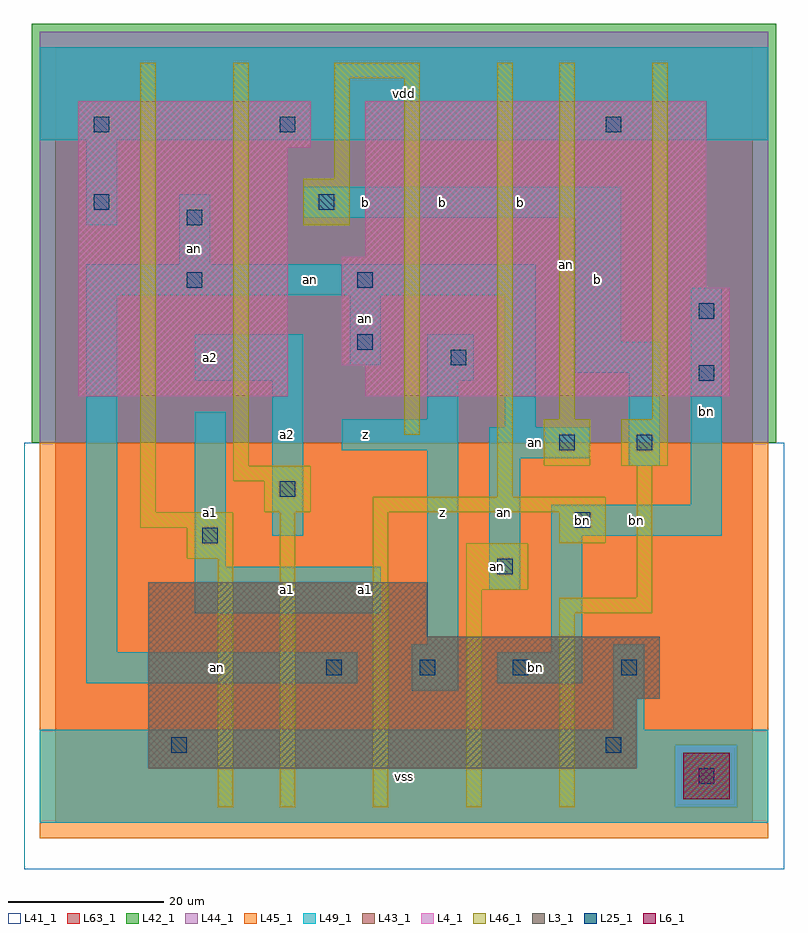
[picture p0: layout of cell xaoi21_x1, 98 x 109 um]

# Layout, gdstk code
import gdstk
lib = gdstk.Library(unit=1e-6, precision=1e-09)
def R(c, l, rs):  # rectangles x0, y0, x1, y1
    for r in rs: c.add(gdstk.rectangle(r[:2], r[2:], *l))
def A(c, l, x, y, w, h, nx, ny, dx, dy):  # array of equal rectangles
    R(c, l, [(x+i*dx, y+j*dy, x+i*dx+w, y+j*dy+h) for i in range(nx) for j in range(ny)])
L3_1 = (3, 1)
L4_1 = (4, 1)
L6_1 = (6, 1)
L25_1 = (25, 1)
L41_1 = (41, 1)
L42_1 = (42, 1)
L43_1 = (43, 1)
L44_1 = (44, 1)
L45_1 = (45, 1)
L46_1 = (46, 1)
L49_1 = (49, 1)
L63_1 = (63, 1)

xaoi21_x1 = lib.new_cell('xaoi21_x1')
R(xaoi21_x1, L3_1, [(12,7,75,16), (12,16,78,24), (12,24,48,31)])
R(xaoi21_x1, L4_1, [(3,55,30,87), (40,55,87,59), (37,59,87,69), (37,69,84,73), (40,73,84,93), (3,87,33,93)])
R(xaoi21_x1, L6_1, [(81,3,87,9)])
A(xaoi21_x1, L25_1, 35, 19, 2, 2, 3, 1, 12, 0)
R(xaoi21_x1, L25_1, [(83,5,85,7), (15,9,17,11), (71,9,73,11), (73,19,75,21), (57,32,59,34), (19,36,21,38), (67,38,69,40), (29,42,31,44), (65,48,67,50), (75,48,77,50), (83,57,85,59), (51,59,53,61), (39,61,41,63), (83,65,85,67), (17,69,19,71), (39,69,41,71), (17,77,19,79), (5,79,7,81), (34,79,36,81), (5,89,7,91), (29,89,31,91), (71,89,73,91)])
R(xaoi21_x1, L41_1, [(-4,-6,94,49), (-3,-3,93,49)])
R(xaoi21_x1, L42_1, [(-3,49,93,103)])
R(xaoi21_x1, L43_1, [(81,3,87,9), (12,7,75,16), (12,16,78,24), (12,24,48,31), (3,55,30,87), (40,55,87,59), (37,59,87,69), (37,69,84,73), (40,73,84,93), (3,87,33,93)])
R(xaoi21_x1, L44_1, [(80,2,88,10), (-2,49,92,102)])
R(xaoi21_x1, L45_1, [(-2,-2,92,2), (-2,2,80,10), (88,2,92,10), (-2,10,92,49)])
R(xaoi21_x1, L46_1, [(21,2,23,34), (29,2,31,40), (41,2,43,40), (53,2,55,30), (65,2,67,27), (65,27,77,29), (75,29,77,46), (53,30,61,36), (17,34,23,38), (65,36,71,40), (11,38,23,40), (11,40,13,98), (27,40,33,44), (41,40,71,42), (57,42,59,98), (23,44,33,46), (23,46,25,98), (63,46,69,52), (73,46,79,52), (45,50,47,96), (65,52,67,98), (77,52,79,98), (32,77,38,83), (36,83,38,96), (36,96,47,98)])
R(xaoi21_x1, L49_1, [(-2,0,92,12), (72,12,76,23), (46,17,52,23), (4,18,39,22), (57,18,68,22), (4,22,8,68), (64,22,68,37), (48,23,52,48), (18,27,42,33), (56,30,60,47), (18,33,22,53), (28,37,32,57), (64,37,86,41), (82,41,86,69), (74,46,78,58), (56,47,69,51), (37,48,52,52), (58,51,62,68), (48,52,52,57), (18,57,32,63), (48,57,54,63), (67,58,78,62), (38,59,42,68), (67,62,73,78), (4,68,62,72), (16,72,20,81), (4,77,8,88), (32,78,73,82), (-2,88,92,100)])
R(xaoi21_x1, L63_1, [(0,0,90,100)])
xaoi21_x1.add(gdstk.Label('an', (57,33), layer=49, texttype=1))
xaoi21_x1.add(gdstk.Label('bn', (68,39), layer=49, texttype=1))
xaoi21_x1.add(gdstk.Label('an', (66,72), layer=46, texttype=1))
xaoi21_x1.add(gdstk.Label('a1', (30,30), layer=49, texttype=1))
xaoi21_x1.add(gdstk.Label('a1', (30,30), layer=49, texttype=1))
xaoi21_x1.add(gdstk.Label('a1', (20,40), layer=49, texttype=1))
xaoi21_x1.add(gdstk.Label('a1', (20,40), layer=49, texttype=1))
xaoi21_x1.add(gdstk.Label('a2', (30,50), layer=49, texttype=1))
xaoi21_x1.add(gdstk.Label('a2', (30,50), layer=49, texttype=1))
xaoi21_x1.add(gdstk.Label('a2', (20,60), layer=49, texttype=1))
xaoi21_x1.add(gdstk.Label('a2', (20,60), layer=49, texttype=1))
xaoi21_x1.add(gdstk.Label('an', (18,74), layer=49, texttype=1))
xaoi21_x1.add(gdstk.Label('vss', (45,6), layer=49, texttype=1))
xaoi21_x1.add(gdstk.Label('vss', (45,6), layer=49, texttype=1))
xaoi21_x1.add(gdstk.Label('an', (21,20), layer=49, texttype=1))
xaoi21_x1.add(gdstk.Label('a1', (40,30), layer=49, texttype=1))
xaoi21_x1.add(gdstk.Label('a1', (40,30), layer=49, texttype=1))
xaoi21_x1.add(gdstk.Label('z', (50,40), layer=49, texttype=1))
xaoi21_x1.add(gdstk.Label('z', (50,40), layer=49, texttype=1))
xaoi21_x1.add(gdstk.Label('z', (40,50), layer=49, texttype=1))
xaoi21_x1.add(gdstk.Label('z', (40,50), layer=49, texttype=1))
xaoi21_x1.add(gdstk.Label('an', (40,65), layer=49, texttype=1))
xaoi21_x1.add(gdstk.Label('b', (40,80), layer=49, texttype=1))
xaoi21_x1.add(gdstk.Label('b', (50,80), layer=49, texttype=1))
xaoi21_x1.add(gdstk.Label('b', (50,80), layer=49, texttype=1))
xaoi21_x1.add(gdstk.Label('b', (40,80), layer=49, texttype=1))
xaoi21_x1.add(gdstk.Label('vdd', (45,94), layer=49, texttype=1))
xaoi21_x1.add(gdstk.Label('vdd', (45,94), layer=49, texttype=1))
xaoi21_x1.add(gdstk.Label('bn', (62,20), layer=49, texttype=1))
xaoi21_x1.add(gdstk.Label('an', (58,40), layer=49, texttype=1))
xaoi21_x1.add(gdstk.Label('an', (62,49), layer=49, texttype=1))
xaoi21_x1.add(gdstk.Label('an', (33,70), layer=49, texttype=1))
xaoi21_x1.add(gdstk.Label('b', (70,70), layer=49, texttype=1))
xaoi21_x1.add(gdstk.Label('b', (70,70), layer=49, texttype=1))
xaoi21_x1.add(gdstk.Label('b', (60,80), layer=49, texttype=1))
xaoi21_x1.add(gdstk.Label('b', (60,80), layer=49, texttype=1))
xaoi21_x1.add(gdstk.Label('bn', (75,39), layer=49, texttype=1))
xaoi21_x1.add(gdstk.Label('bn', (84,53), layer=49, texttype=1))

lib.write_gds('xaoi21_x1.gds')
